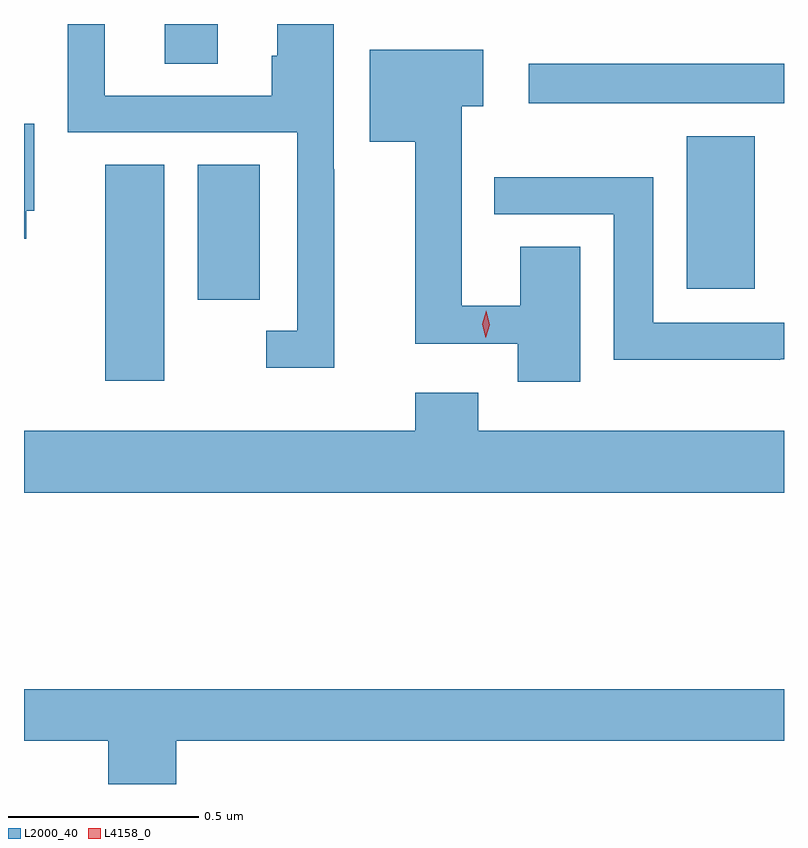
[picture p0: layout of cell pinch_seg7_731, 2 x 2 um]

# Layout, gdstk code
import gdstk
lib = gdstk.Library(unit=1e-6, precision=1e-09)
def R(c, l, rs):  # rectangles x0, y0, x1, y1
    for r in rs: c.add(gdstk.rectangle(r[:2], r[2:], *l))
def P(c, l, *ps):  # polygons
    for p in ps: c.add(gdstk.Polygon(p, *l))
L2000_40 = (2000, 40)
L4158_0 = (4158, 0)

pinch_seg7_731 = lib.new_cell('pinch_seg7_731')
R(pinch_seg7_731, L2000_40, [(276.773,1012.899,276.928,1013.468), (277.016,1013.112,277.18,1013.468), (278.303,1013.141,278.482,1013.542), (277.887,1013.63,278.559,1013.734), (276.929,1013.734,277.069,1013.838), (278.153,1013.837,278.313,1013.838)])
P(pinch_seg7_731, L2000_40, [(277.376,1013.456),(277.374,1013.456),(277.374,1013.838),(277.226,1013.838),(277.226,1013.754),(277.211,1013.754),(277.211,1013.649),(276.772,1013.649),(276.772,1013.838),(276.674,1013.838),(276.674,1013.553),(277.278,1013.553),(277.278,1013.031),(277.197,1013.031),(277.197,1012.934),(277.376,1012.934)],
  [(278.023,1013.252),(277.865,1013.252),(277.865,1013.097),(277.711,1013.097),(277.711,1013.621),(277.768,1013.621),(277.768,1013.77),(277.469,1013.77),(277.469,1013.528),(277.589,1013.528),(277.589,1012.997),(277.858,1012.997),(277.858,1012.896),(278.023,1012.896)],
  [(276.565,1013.346),(276.586,1013.346),(276.586,1013.575),(276.559,1013.575),(276.559,1013.273),(276.565,1013.273)],
  [(278.549,1012.956),(278.559,1012.956),(278.559,1013.052),(278.215,1013.052),(278.215,1013.435),(277.796,1013.435),(277.796,1013.337),(278.111,1013.337),(278.111,1012.955),(278.549,1012.955)],
  [(278.559,1012.768),(277.754,1012.768),(277.754,1012.867),(277.589,1012.867),(277.589,1012.768),(276.559,1012.768),(276.559,1012.604),(278.559,1012.604)],
  [(276.959,1011.952),(278.559,1011.952),(278.559,1012.088),(276.559,1012.088),(276.559,1011.952),(276.781,1011.952),(276.781,1011.838),(276.959,1011.838)])
P(pinch_seg7_731, L4158_0, [(277.774,1013.012),(277.774,1013.012),(277.765,1013.048),(277.775,1013.083),(277.776,1013.083),(277.776,1013.083),(277.785,1013.047),(277.774,1013.012)])

lib.write_gds('pinch_seg7_731.gds')
